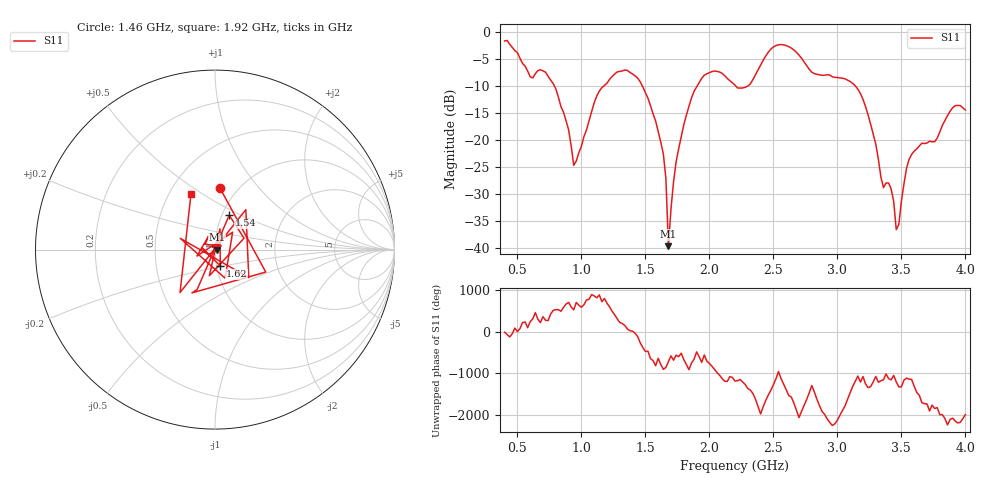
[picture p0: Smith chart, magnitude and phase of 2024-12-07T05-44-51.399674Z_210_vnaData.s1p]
!Created with skrf (http://scikit-rf.org).
# Hz S RI R 50.0
!freq ReS11 ImS11
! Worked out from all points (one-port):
!   181 points, 400 MHz to 4 GHz, reference 50 ohm
!   lowest |S11| = -39.7 dB at 1.68 GHz (marker M1), VSWR 1.02, Z = 51 - j0.0569 ohm
!   |S11| at or under -10 dB: 788.5 MHz to 1.176 GHz (387.8 MHz wide, 39.5 % of centre); 1.476 GHz to 1.905 GHz (429.6 MHz wide, 25.4 % of centre); 3.14 GHz to end of sweep (the widest 3 of 4)
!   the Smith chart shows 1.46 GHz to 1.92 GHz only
!   S11 on the Smith chart (normalised r, x): 1.46 GHz: 0.83, +0.64; 1.54 GHz: 1.08, +0.43; 1.62 GHz: 1.04, -0.19; 1.92 GHz: 0.64, +0.45
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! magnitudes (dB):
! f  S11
! 400 MHz  -1.7
! 600 MHz  -8.3
! 720 MHz  -7.5
! 860 MHz  -14.9
! 940 MHz  -24.7
! 1.12 GHz  -11.9
! 1.3 GHz  -7.3
! 1.46 GHz  -9.3
! 1.54 GHz  -13.7
! 1.62 GHz  -20.4
! 1.66 GHz  -27.1
! 1.68 GHz  -39.7
! 1.72 GHz  -27.8
! 1.76 GHz  -21.6
! 1.92 GHz  -9.4
! 2.04 GHz  -7.3
! 2.2 GHz  -9.9
! 2.32 GHz  -9.6
! 2.5 GHz  -2.8
! 2.66 GHz  -3.4
! 3.1 GHz  -9.2
! 3.22 GHz  -13.8
! 3.36 GHz  -28.8
! 3.42 GHz  -29.1
! 3.46 GHz  -36.6
! 3.56 GHz  -23.6
! 3.9 GHz  -14.0
! 4 GHz  -14.5
